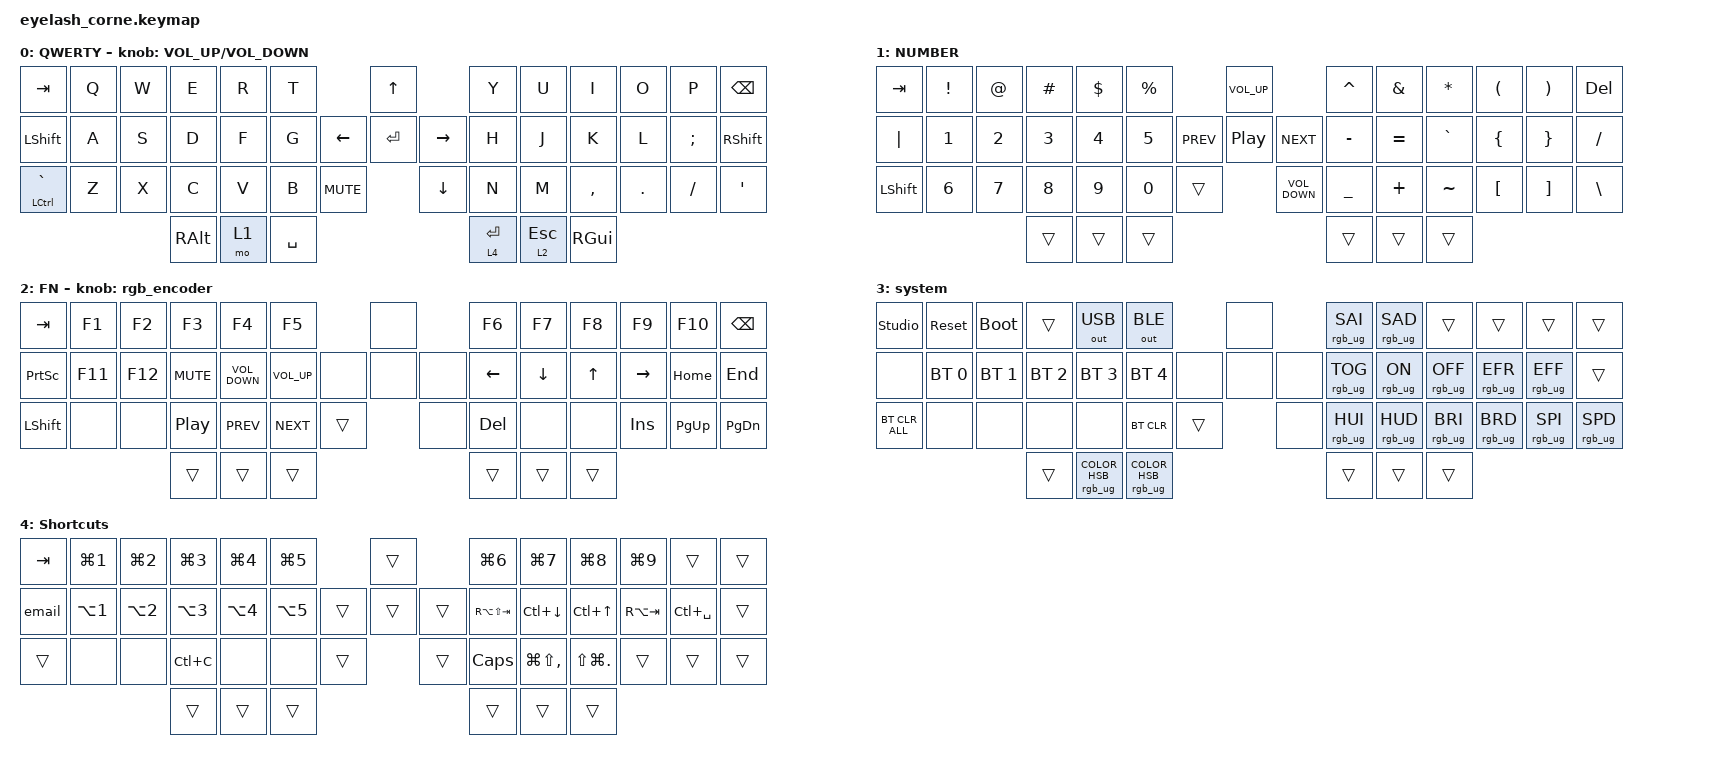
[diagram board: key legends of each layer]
// #define ZMK_POINTING_DEFAULT_MOVE_VAL 1200  // 600
// #define ZMK_POINTING_DEFAULT_SCRL_VAL 25   // 10

#include <input/processors.dtsi>
#include <zephyr/dt-bindings/input/input-event-codes.h>

// #include <dt-bindings/zmk/pointing.h>

#include <behaviors.dtsi>
#include <dt-bindings/zmk/bt.h>
#include <dt-bindings/zmk/keys.h>
#include <dt-bindings/zmk/outputs.h>
#include <dt-bindings/zmk/rgb.h>

// &mmv_input_listener { input-processors = <&zip_xy_scaler 2 1>; };
// &msc_input_listener { input-processors = <&zip_scroll_scaler 2 1>; };
//
// &msc {
//     acceleration-exponent = <1>;      // 0
//     time-to-max-speed-ms = <100>;       // 300
//     delay-ms = <0>;                   // 0
// };
//
// &mmv {
//     time-to-max-speed-ms = <500>;
//     acceleration-exponent = <1>;
//     trigger-period-ms = <16>;
// };

&soft_off { hold-time-ms = <2000>; };

/ {
    behaviors {
        HMShiftL: HMShiftL {
            compatible = "zmk,behavior-hold-tap";
            label = "HMSHIFTL";
            bindings = <&kp>, <&kp>;

            #binding-cells = <2>;
            tapping-term-ms = <135>;
            hold-trigger-key-positions = <7 8 9 10 11 12 22 23 24 25 26 27 36 37 38 39 40 41 45 46 47>;
            quick-tap-ms = <180>;
            require-prior-idle-ms = <35>;
            flavor = "hold-preferred";
        };

        HMShiftR: HMShiftR {
            compatible = "zmk,behavior-hold-tap";
            label = "HMSHIFTR";
            bindings = <&kp>, <&kp>;

            #binding-cells = <2>;
            tapping-term-ms = <135>;
            hold-trigger-key-positions = <0 1 2 3 4 5 13 14 15 16 17 18 28 29 30 31 32 33 34 42 43 44>;
            quick-tap-ms = <180>;
            require-prior-idle-ms = <35>;
            flavor = "hold-preferred";
        };

        HMR: HMR {
            compatible = "zmk,behavior-hold-tap";
            label = "HMR";
            bindings = <&kp>, <&kp>;

            #binding-cells = <2>;
            tapping-term-ms = <180>;
            hold-trigger-on-release;
            hold-trigger-key-positions = <0 1 2 3 4 5 13 14 15 16 17 18 28 29 30 31 32 33 34 42 43 44>;
            flavor = "tap-preferred";
            quick-tap-ms = <180>;
            require-prior-idle-ms = <0>;
        };

        HML: HML {
            compatible = "zmk,behavior-hold-tap";
            label = "HML";
            bindings = <&kp>, <&kp>;

            #binding-cells = <2>;
            tapping-term-ms = <180>;
            hold-trigger-key-positions = <7 8 9 10 11 12 22 23 24 25 26 27 36 37 38 39 40 41 45 46 47>;
            hold-trigger-on-release;
            flavor = "tap-preferred";
            quick-tap-ms = <180>;
            require-prior-idle-ms = <0>;
        };

        fast_space: fast_space {
            compatible = "zmk,behavior-hold-tap";
            label = "FAST_SPACE";
            bindings = <&mo>, <&kp>;

            #binding-cells = <2>;
            flavor = "tap-preferred";
            tapping-term-ms = <200>;
            quick-tap-ms = <175>;
            require-prior-idle-ms = <120>;
            hold-trigger-on-release;
        };
    };

    rgb_encoder: rgb_encoder {
        compatible = "zmk,behavior-sensor-rotate";
        #sensor-binding-cells = <0>;
        bindings = <&rgb_ug RGB_BRI>, <&rgb_ug RGB_BRD>;
    };

    // scroll_encoder: scroll_encoder {
    //     compatible = "zmk,behavior-sensor-rotate";
    //     #sensor-binding-cells = <0>;
    //     bindings = <&msc SCRL_DOWN>, <&msc SCRL_UP>;
    //
    //     tap-ms = <100>;
    // };

    combos {
        compatible = "zmk,combos";

        softoff {
            bindings = <&soft_off>;
            key-positions = <1 15 29>;
        };

        clipboard_screenshot {
            bindings = <&kp LG(LC(LS(NUMBER_4)))>;
            key-positions = <28 13>;
        };

        terminal {
            bindings = <&kp LG(LS(ENTER))>;
            key-positions = <12 27>;
        };

        control_center {
            bindings = <&kp LC(LS(LEFT))>;
            key-positions = <27 41>;
        };

        raycast {
            bindings = <&kp RG(SPACE)>;
            key-positions = <39 38>;
        };

        lock_screen {
            bindings = <&kp LC(LG(Q))>;
            key-positions = <0 13>;
        };
    };

    macros {
        email: email {
            compatible = "zmk,behavior-macro";
            #binding-cells = <0>;
            bindings = <&kp J &kp A &kp W &kp A &kp D &kp N1 &kp N1 &kp N8 &kp N8 &kp N7 &kp N7 &kp AT &kp G &kp M &kp A &kp I &kp L &kp DOT &kp C &kp O &kp M>;
            label = "EMAIL";
        };
    };

    keymap {
        compatible = "zmk,keymap";

        default_layer {
            display-name = "QWERTY";
            bindings = <
&kp TAB          &kp Q  &kp W  &kp E          &kp R  &kp T                              &kp UP                &kp Y        &kp U      &kp I          &kp O    &kp P     &kp BSPC
&kp LEFT_SHIFT   &kp A  &kp S  &kp D          &kp F  &kp G                    &kp LEFT  &kp ENTER  &kp RIGHT  &kp H        &kp J      &kp K          &kp L    &kp SEMI  &kp RIGHT_SHIFT
&mt LCTRL GRAVE  &kp Z  &kp X  &kp C          &kp V  &kp B      &kp C_MUTE              &kp DOWN              &kp N        &kp M      &kp COMMA      &kp DOT  &kp FSLH  &kp APOSTROPHE
                               &kp RIGHT_ALT  &mo 1  &kp SPACE                                                &lt 4 ENTER  &lt 2 ESC  &kp RIGHT_GUI
            >;

            sensor-bindings = <&inc_dec_kp C_VOLUME_UP C_VOLUME_DOWN>;
        };

        lower_layer {
            display-name = "NUMBER";
            bindings = <
&kp TAB         &kp EXCLAMATION  &kp AT_SIGN   &kp HASH      &kp DOLLAR    &kp PERCENT                         &kp C_VOLUME_UP                &kp CARET       &kp AMPERSAND  &kp ASTERISK  &kp LEFT_PARENTHESIS  &kp RIGHT_PARENTHESIS  &kp DEL
&kp PIPE        &kp NUMBER_1     &kp NUMBER_2  &kp NUMBER_3  &kp NUMBER_4  &kp NUMBER_5            &kp C_PREV  &kp C_PLAY_PAUSE   &kp C_NEXT  &kp MINUS       &kp EQUAL      &kp GRAVE     &kp LEFT_BRACE        &kp RIGHT_BRACE        &kp SLASH
&kp LEFT_SHIFT  &kp NUMBER_6     &kp NUMBER_7  &kp NUMBER_8  &kp NUMBER_9  &kp NUMBER_0  &trans                &kp C_VOLUME_DOWN              &kp UNDERSCORE  &kp PLUS       &kp TILDE     &kp LEFT_BRACKET      &kp RIGHT_BRACKET      &kp BACKSLASH
                                               &trans        &trans        &trans                                                             &trans          &trans         &trans
            >;
        };

        raise_layer {
            display-name = "FN";
            bindings = <
&kp TAB          &kp F1   &kp F2   &kp F3            &kp F4             &kp F5                            &none         &kp F6    &kp F7    &kp F8        &kp F9     &kp F10    &kp BACKSPACE
&kp PRINTSCREEN  &kp F11  &kp F12  &kp C_MUTE        &kp C_VOLUME_DOWN  &kp C_VOLUME_UP            &none  &none  &none  &kp LEFT  &kp DOWN  &kp UP_ARROW  &kp RIGHT  &kp HOME   &kp END
&kp LEFT_SHIFT   &none    &none    &kp C_PLAY_PAUSE  &kp C_PREV         &kp C_NEXT       &trans           &none         &kp DEL   &none     &none         &kp INS    &kp PG_UP  &kp PAGE_DOWN
                                   &trans            &trans             &trans                                          &trans    &trans    &trans
            >;

            sensor-bindings = <&rgb_encoder>;
        };

        system_layer {
            display-name = "system";
            bindings = <
&studio_unlock  &sys_reset    &bootloader   &trans        &out OUT_USB                    &out OUT_BLE                                     &none         &rgb_ug RGB_SAI  &rgb_ug RGB_SAD  &trans           &trans           &trans           &trans
&none           &bt BT_SEL 0  &bt BT_SEL 1  &bt BT_SEL 2  &bt BT_SEL 3                    &bt BT_SEL 4                              &none  &none  &none  &rgb_ug RGB_TOG  &rgb_ug RGB_ON   &rgb_ug RGB_OFF  &rgb_ug RGB_EFR  &rgb_ug RGB_EFF  &trans
&bt BT_CLR_ALL  &none         &none         &none         &none                           &bt BT_CLR                      &trans           &none         &rgb_ug RGB_HUI  &rgb_ug RGB_HUD  &rgb_ug RGB_BRI  &rgb_ug RGB_BRD  &rgb_ug RGB_SPI  &rgb_ug RGB_SPD
                                            &trans        &rgb_ug RGB_COLOR_HSB(0,66,65)  &rgb_ug RGB_COLOR_HSB(0,0,100)                                 &trans           &trans           &trans
            >;
        };

        Shortcuts {
            bindings = <
&kp TAB  &kp LG(NUMBER_1)  &kp LG(NUMBER_2)  &kp LG(NUMBER_3)  &kp LG(NUMBER_4)  &kp LG(NUMBER_5)                    &trans          &kp LG(NUMBER_6)  &kp LG(NUMBER_7)   &kp LG(NUMBER_8)  &kp LG(NUMBER_9)  &trans         &trans
&email   &kp LA(NUMBER_1)  &kp LA(NUMBER_2)  &kp LA(N3)        &kp LA(NUMBER_4)  &kp LA(N5)                  &trans  &trans  &trans  &kp RA(LS(TAB))   &kp LC(DOWN)       &kp LC(UP_ARROW)  &kp RA(TAB)       &kp LC(SPACE)  &trans
&trans   &none             &none             &kp LC(C)         &none             &none             &trans            &trans          &kp CAPS          &kp LG(LS(COMMA))  &kp LS(LG(DOT))   &trans            &trans         &trans
                                             &trans            &trans            &trans                                              &trans            &trans             &trans
            >;
        };
    };

    conditional_layers {
        compatible = "zmk,conditional-layers";

        system_layer {
            if-layers = <1 2>;
            then-layer = <3>;
        };
    };
};
